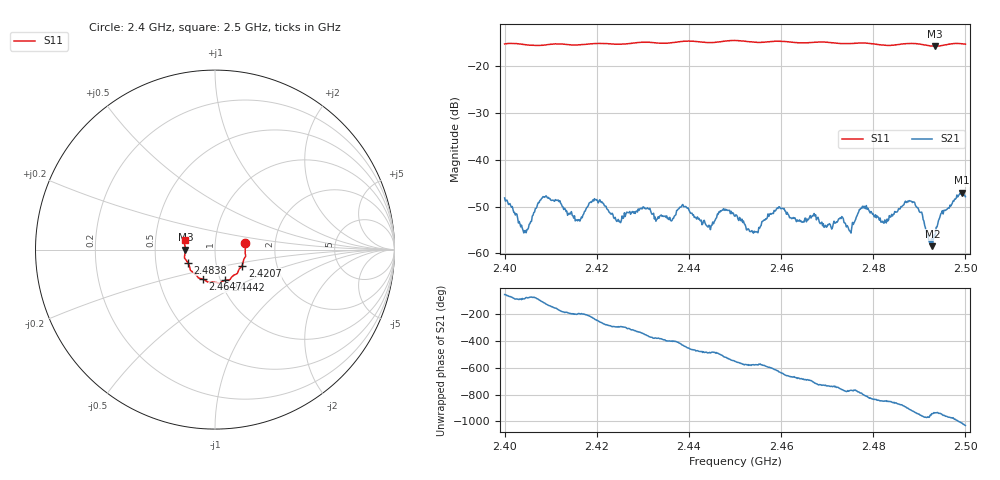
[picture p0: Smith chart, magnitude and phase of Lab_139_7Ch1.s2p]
# Hz S RI R 50
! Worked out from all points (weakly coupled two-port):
!   601 points, 2.4 GHz to 2.5 GHz, reference 50 ohm
!   highest |S21| = -47.05 dB at 2.4992 GHz (marker M1); lowest = -58.5 dB at 2.4928 GHz (marker M2)
!   lowest |S11| = -15.7 dB at 2.4933 GHz (marker M3), VSWR 1.39, Z = 35.9 - j0.0221 ohm
!   |S11| at or under -10 dB: start of sweep to end of sweep
!   S12 and S22 are empty: the file has one direction only
!   S11 on the Smith chart (normalised r, x): 2.4 GHz: 1.40, +0.11; 2.4207 GHz: 1.33, -0.24; 2.4442 GHz: 1.05, -0.37; 2.4647 GHz: 0.83, -0.28; 2.4838 GHz: 0.73, -0.11; 2.5 GHz: 0.71, +0.08
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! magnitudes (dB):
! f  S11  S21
! 2.4 GHz  -15.2  -48.2
! 2.4045 GHz  -15.4  -55.1
! 2.4087 GHz  -15.4  -48.0
! 2.4167 GHz  -15.3  -52.3
! 2.4207 GHz  -15.1  -48.5
! 2.4247 GHz  -15.2  -52.8
! 2.4333 GHz  -15.0  -52.2
! 2.439 GHz  -14.6  -50.0
! 2.4442 GHz  -14.9  -54.4
! 2.45 GHz  -14.4  -52.1
! 2.4545 GHz  -14.8  -55.4
! 2.4595 GHz  -14.6  -50.1
! 2.4647 GHz  -15.0  -53.4
! 2.4667 GHz  -14.9  -52.1
! 2.4748 GHz  -15.1  -55.2
! 2.4833 GHz  -15.5  -52.9
! 2.4838 GHz  -15.5  -52.2
! 2.4885 GHz  -15.1  -49.1
! 2.4928 GHz  -15.7  -58.5
! 2.4933 GHz  -15.7  -56.6
! 2.4992 GHz  -15.1  -47.0
! 2.5 GHz  -15.2  -47.9
